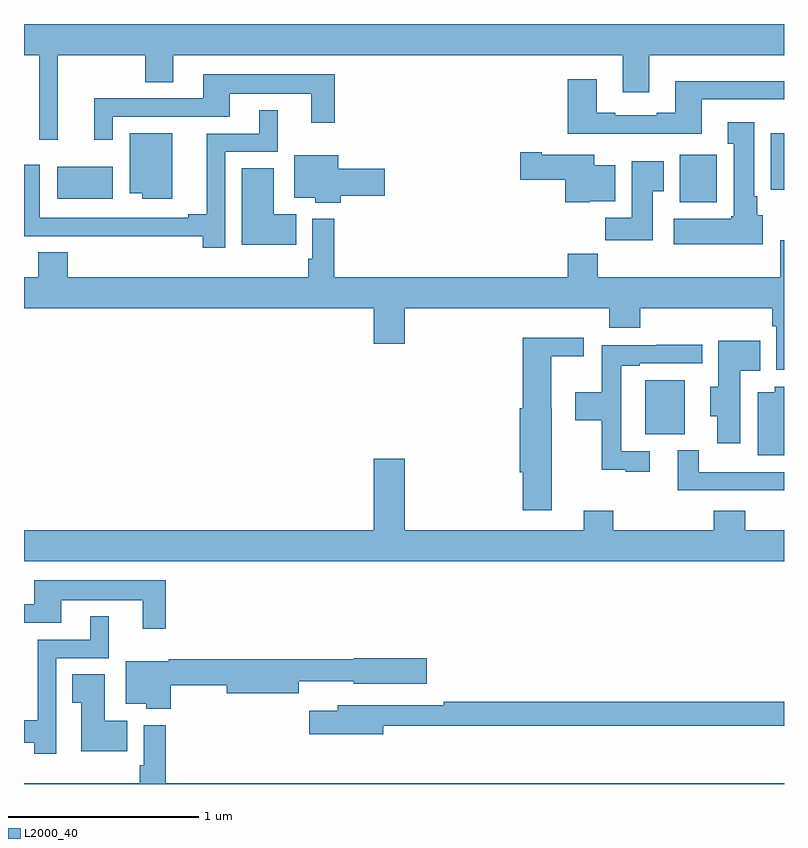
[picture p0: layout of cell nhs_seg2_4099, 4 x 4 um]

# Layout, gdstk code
import gdstk
lib = gdstk.Library(unit=1e-6, precision=1e-09)
def R(c, l, rs):  # rectangles x0, y0, x1, y1
    for r in rs: c.add(gdstk.rectangle(r[:2], r[2:], *l))
def P(c, l, *ps):  # polygons
    for p in ps: c.add(gdstk.Polygon(p, *l))
L2000_40 = (2000, 40)

nhs_seg2_4099 = lib.new_cell('nhs_seg2_4099')
R(nhs_seg2_4099, L2000_40, [(334.271,645.641,334.477,645.925), (334.451,646.862,334.647,647.113), (331.175,646.88,331.468,647.05), (334.931,646.928,335,647.224)])
P(nhs_seg2_4099, L2000_40, [(331.178,647.636),(331.639,647.636),(331.639,647.494),(331.786,647.494),(331.786,647.636),(334.151,647.636),(334.151,647.442),(334.291,647.442),(334.291,647.636),(335,647.636),(335,647.8),(331,647.8),(331,647.636),(331.079,647.636),(331.079,647.19),(331.178,647.19)],
  [(331.467,647.313),(332.083,647.313),(332.083,647.432),(332.513,647.432),(332.513,647.28),(332.635,647.28),(332.635,647.536),(331.943,647.536),(331.943,647.409),(331.37,647.409),(331.37,647.19),(331.467,647.19)],
  [(334.567,647.403),(335,647.403),(335,647.5),(334.427,647.5),(334.427,647.332),(334.331,647.332),(334.331,647.319),(334.111,647.319),(334.111,647.332),(334.015,647.332),(334.015,647.509),(333.863,647.509),(333.863,647.222),(334.567,647.222)],
  [(332.058,647.127),(332.335,647.127),(332.335,647.347),(332.237,647.347),(332.237,647.223),(331.961,647.223),(331.961,646.799),(331.865,646.799),(331.865,646.779),(331.083,646.779),(331.083,647.059),(331,647.059),(331,646.683),(331.312,646.683),(331.312,646.682),(331.942,646.682),(331.942,646.623),(332.058,646.623)],
  [(334.888,646.794),(334.858,646.794),(334.858,646.894),(334.843,646.894),(334.843,647.284),(334.703,647.284),(334.703,647.171),(334.736,647.171),(334.736,646.788),(334.723,646.788),(334.723,646.774),(334.419,646.774),(334.419,646.64),(334.888,646.64)],
  [(331.78,647.224),(331.556,647.224),(331.556,646.91),(331.622,646.91),(331.622,646.88),(331.78,646.88)],
  [(333.978,646.868),(334.111,646.868),(334.111,647.056),(334,647.056),(334,647.113),(333.724,647.113),(333.724,647.126),(333.612,647.126),(333.612,646.979),(333.848,646.979),(333.848,646.862),(333.978,646.862)],
  [(332.666,646.897),(332.899,646.897),(332.899,647.039),(332.653,647.039),(332.653,647.11),(332.423,647.11),(332.423,646.886),(332.532,646.886),(332.532,646.859),(332.666,646.859)],
  [(334.309,646.921),(334.366,646.921),(334.366,647.077),(334.199,647.077),(334.199,646.78),(334.06,646.78),(334.06,646.662),(334.309,646.662)],
  [(332.432,646.798),(332.314,646.798),(332.314,647.042),(332.147,647.042),(332.147,646.637),(332.432,646.637)],
  [(335,646.663),(334.979,646.663),(334.979,646.468),(334.019,646.468),(334.019,646.592),(333.863,646.592),(333.863,646.468),(332.633,646.468),(332.633,646.774),(332.517,646.774),(332.517,646.564),(332.497,646.564),(332.497,646.468),(331.229,646.468),(331.229,646.598),(331.076,646.598),(331.076,646.468),(331,646.468),(331,646.304),(332.84,646.304),(332.84,646.116),(333.004,646.116),(333.004,646.304),(334.079,646.304),(334.079,646.202),(334.244,646.202),(334.244,646.304),(334.939,646.304),(334.939,646.208),(334.959,646.208),(334.959,645.981),(335,645.981)],
  [(333.778,645.777),(333.775,645.777),(333.775,646.052),(333.946,646.052),(333.946,646.15),(333.626,646.15),(333.626,645.777),(333.608,645.777),(333.608,645.441),(333.626,645.441),(333.626,645.24),(333.778,645.24)],
  [(334.771,645.974),(334.874,645.974),(334.874,646.132),(334.655,646.132),(334.655,645.891),(334.613,645.891),(334.613,645.736),(334.649,645.736),(334.649,645.594),(334.771,645.594)],
  [(334.294,645.552),(334.143,645.552),(334.143,646.002),(334.24,646.002),(334.24,646.014),(334.57,646.014),(334.57,646.112),(334.327,646.112),(334.327,646.11),(334.042,646.11),(334.042,645.862),(333.9,645.862),(333.9,645.715),(334.042,645.715),(334.042,645.455),(334.166,645.455),(334.166,645.444),(334.294,645.444)],
  [(335,645.892),(334.952,645.892),(334.952,645.862),(334.862,645.862),(334.862,645.53),(335,645.53)],
  [(335,645.441),(334.766,645.441),(334.766,645.442),(334.552,645.442),(334.552,645.556),(334.442,645.556),(334.442,645.345),(335,645.345)],
  [(335,645.136),(334.796,645.136),(334.796,645.238),(334.631,645.238),(334.631,645.136),(334.1,645.136),(334.1,645.238),(333.947,645.238),(333.947,645.136),(333.004,645.136),(333.004,645.511),(332.84,645.511),(332.84,645.136),(331,645.136),(331,644.972),(335,644.972)],
  [(331.747,644.872),(331.055,644.872),(331.055,644.745),(331,644.745),(331,644.649),(331.195,644.649),(331.195,644.768),(331.625,644.768),(331.625,644.616),(331.747,644.616)],
  [(331.17,644.463),(331.447,644.463),(331.447,644.683),(331.349,644.683),(331.349,644.559),(331.073,644.559),(331.073,644.135),(331,644.135),(331,644.018),(331.054,644.018),(331.054,643.959),(331.17,643.959)],
  [(331.773,644.32),(332.066,644.32),(332.066,644.278),(332.446,644.278),(332.446,644.34),(332.736,644.34),(332.736,644.327),(333.121,644.327),(333.121,644.462),(332.736,644.462),(332.736,644.456),(331.761,644.456),(331.761,644.446),(331.535,644.446),(331.535,644.222),(331.644,644.222),(331.644,644.195),(331.773,644.195)],
  [(331.544,644.134),(331.426,644.134),(331.426,644.378),(331.255,644.378),(331.255,644.227),(331.301,644.227),(331.301,643.973),(331.544,643.973)],
  [(332.89,644.106),(335,644.106),(335,644.234),(333.208,644.234),(333.208,644.214),(332.651,644.214),(332.651,644.185),(332.502,644.185),(332.502,644.063),(332.89,644.063)],
  [(335,643.804),(331.745,643.804),(331.745,644.11),(331.629,644.11),(331.629,643.9),(331.609,643.9),(331.609,643.804),(331,643.804),(331,643.8),(335,643.8)])

lib.write_gds('nhs_seg2_4099.gds')
